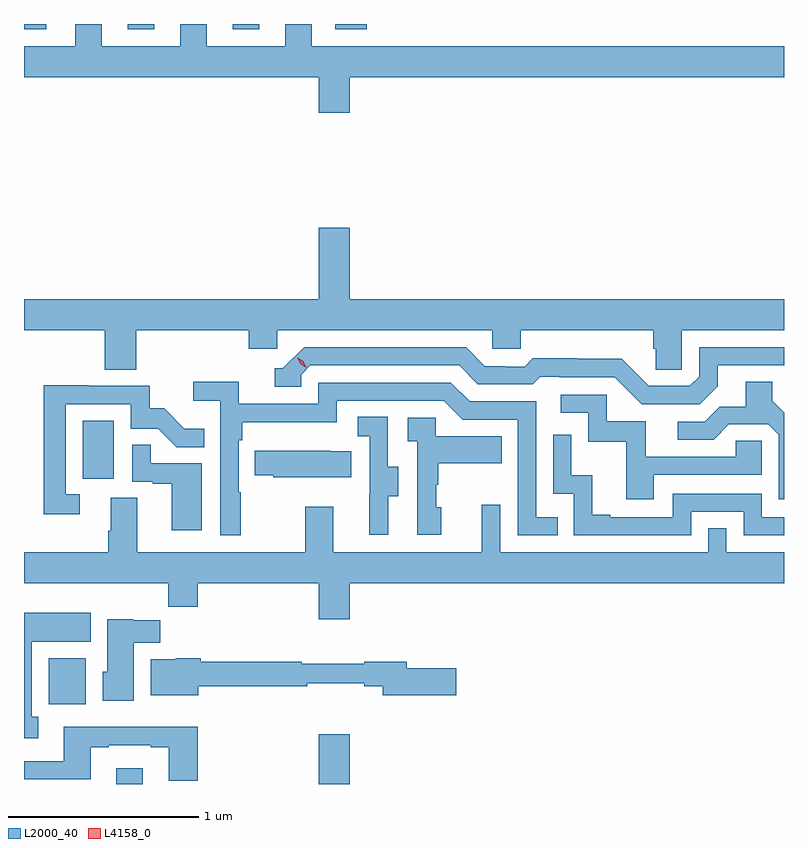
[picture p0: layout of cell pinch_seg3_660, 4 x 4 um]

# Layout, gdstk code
import gdstk
lib = gdstk.Library(unit=1e-6, precision=1e-09)
def R(c, l, rs):  # rectangles x0, y0, x1, y1
    for r in rs: c.add(gdstk.rectangle(r[:2], r[2:], *l))
def P(c, l, *ps):  # polygons
    for p in ps: c.add(gdstk.Polygon(p, *l))
L2000_40 = (2000, 40)
L4158_0 = (4158, 0)

pinch_seg3_660 = lib.new_cell('pinch_seg3_660')
R(pinch_seg3_660, L2000_40, [(1075.031,674.552,1075.171,674.635), (1076.096,674.552,1076.26,674.815), (1074.674,674.972,1074.871,675.214), (1074.854,676.158,1075.018,676.465), (1074.545,678.525,1074.661,678.552), (1075.091,678.525,1075.231,678.552), (1075.643,678.525,1075.783,678.552), (1076.183,678.525,1076.348,678.552)])
P(pinch_seg3_660, L2000_40, [(1076.26,678.272),(1078.545,678.272),(1078.545,678.436),(1076.059,678.436),(1076.059,678.552),(1075.919,678.552),(1075.919,678.436),(1075.507,678.436),(1075.507,678.552),(1075.367,678.552),(1075.367,678.436),(1074.955,678.436),(1074.955,678.552),(1074.816,678.552),(1074.816,678.436),(1074.545,678.436),(1074.545,678.272),(1076.096,678.272),(1076.096,678.084),(1076.26,678.084)],
  [(1077.009,676.842),(1077.159,676.842),(1077.159,676.94),(1077.857,676.94),(1077.857,676.842),(1077.871,676.842),(1077.871,676.732),(1078.008,676.732),(1078.008,676.94),(1078.545,676.94),(1078.545,677.104),(1076.26,677.104),(1076.26,677.479),(1076.096,677.479),(1076.096,677.104),(1074.545,677.104),(1074.545,676.94),(1074.971,676.94),(1074.971,676.732),(1075.136,676.732),(1075.136,676.94),(1075.727,676.94),(1075.727,676.842),(1075.878,676.842),(1075.878,676.94),(1077.009,676.94)],
  [(1078.195,676.645),(1078.195,676.755),(1078.545,676.755),(1078.545,676.851),(1078.098,676.851),(1078.098,676.695),(1078.05,676.647),(1077.834,676.647),(1077.692,676.789),(1077.456,676.789),(1077.456,676.792),(1077.223,676.792),(1077.181,676.749),(1077.078,676.749),(1077.078,676.752),(1076.971,676.752),(1076.872,676.851),(1076.019,676.851),(1075.908,676.74),(1075.865,676.74),(1075.865,676.644),(1076.004,676.644),(1076.004,676.707),(1076.052,676.755),(1076.835,676.755),(1076.934,676.656),(1077.223,676.656),(1077.262,676.695),(1077.361,676.695),(1077.361,676.692),(1077.654,676.692),(1077.795,676.551),(1078.101,676.551)],
  [(1075.687,676.088),(1075.674,676.088),(1075.674,676.361),(1075.694,676.361),(1075.694,676.457),(1076.19,676.457),(1076.19,676.569),(1076.754,676.569),(1076.853,676.47),(1077.144,676.47),(1077.144,675.861),(1077.353,675.861),(1077.353,675.957),(1077.24,675.957),(1077.24,676.566),(1076.89,676.566),(1076.791,676.665),(1076.094,676.665),(1076.094,676.554),(1075.676,676.554),(1075.676,676.67),(1075.437,676.67),(1075.437,676.568),(1075.578,676.568),(1075.578,675.861),(1075.687,675.861)],
  [(1078.545,676.506),(1078.483,676.568),(1078.483,676.67),(1078.343,676.67),(1078.343,676.538),(1078.208,676.538),(1078.128,676.458),(1077.987,676.458),(1077.987,676.365),(1078.174,676.365),(1078.255,676.446),(1078.461,676.446),(1078.518,676.389),(1078.518,676.05),(1078.545,676.05)],
  [(1074.838,676.077),(1074.765,676.077),(1074.765,676.551),(1075.107,676.551),(1075.107,676.422),(1075.251,676.422),(1075.349,676.324),(1075.493,676.324),(1075.493,676.423),(1075.389,676.423),(1075.282,676.53),(1075.206,676.53),(1075.206,676.647),(1074.887,676.647),(1074.887,676.652),(1074.649,676.652),(1074.649,675.972),(1074.838,675.972)],
  [(1077.859,676.179),(1078.428,676.179),(1078.428,676.359),(1078.291,676.359),(1078.291,676.275),(1077.817,676.275),(1077.817,676.461),(1077.612,676.461),(1077.612,676.602),(1077.369,676.602),(1077.369,676.506),(1077.516,676.506),(1077.516,676.353),(1077.715,676.353),(1077.715,676.05),(1077.859,676.05)],
  [(1076.461,676.066),(1076.515,676.066),(1076.515,676.221),(1076.46,676.221),(1076.46,676.484),(1076.301,676.484),(1076.301,676.381),(1076.364,676.381),(1076.364,676.077),(1076.363,676.077),(1076.363,675.864),(1076.461,675.864)],
  [(1076.74,676.008),(1076.715,676.008),(1076.715,676.127),(1076.725,676.127),(1076.725,676.241),(1077.059,676.241),(1077.059,676.381),(1076.712,676.381),(1076.712,676.479),(1076.565,676.479),(1076.565,676.355),(1076.616,676.355),(1076.616,675.864),(1076.74,675.864)],
  [(1078.056,675.984),(1078.332,675.984),(1078.332,675.861),(1078.545,675.861),(1078.545,675.957),(1078.428,675.957),(1078.428,676.08),(1077.96,676.08),(1077.96,675.957),(1077.631,675.957),(1077.631,675.97),(1077.536,675.97),(1077.536,676.178),(1077.426,676.178),(1077.426,676.39),(1077.33,676.39),(1077.33,676.08),(1077.438,676.08),(1077.438,675.861),(1078.056,675.861)],
  [(1075.48,676.239),(1075.211,676.239),(1075.211,676.337),(1075.116,676.337),(1075.116,676.143),(1075.223,676.143),(1075.223,676.131),(1075.322,676.131),(1075.322,675.888),(1075.48,675.888)],
  [(1076.267,676.303),(1076.159,676.303),(1076.159,676.306),(1075.759,676.306),(1075.759,676.177),(1075.857,676.177),(1075.857,676.166),(1076.267,676.166)],
  [(1076.26,675.608),(1078.545,675.608),(1078.545,675.772),(1078.242,675.772),(1078.242,675.899),(1078.146,675.899),(1078.146,675.772),(1077.051,675.772),(1077.051,676.021),(1076.954,676.021),(1076.954,675.772),(1076.173,675.772),(1076.173,676.012),(1076.026,676.012),(1076.026,675.772),(1075.141,675.772),(1075.141,676.058),(1075.001,676.058),(1075.001,675.884),(1074.989,675.884),(1074.989,675.772),(1074.545,675.772),(1074.545,675.608),(1075.303,675.608),(1075.303,675.484),(1075.46,675.484),(1075.46,675.608),(1076.096,675.608),(1076.096,675.42),(1076.26,675.42)],
  [(1074.619,674.906),(1074.586,674.906),(1074.586,675.302),(1074.895,675.302),(1074.895,675.454),(1074.545,675.454),(1074.545,674.793),(1074.619,674.793)],
  [(1075.123,675.296),(1075.262,675.296),(1075.262,675.415),(1075.119,675.415),(1075.119,675.418),(1074.983,675.418),(1074.983,675.144),(1074.959,675.144),(1074.959,674.99),(1075.123,674.99)],
  [(1075.462,675.067),(1076.036,675.067),(1076.036,675.082),(1076.336,675.082),(1076.336,675.067),(1076.432,675.067),(1076.432,675.02),(1076.821,675.02),(1076.821,675.162),(1076.56,675.162),(1076.56,675.196),(1076.336,675.196),(1076.336,675.186),(1076.007,675.186),(1076.007,675.196),(1075.475,675.196),(1075.475,675.214),(1075.344,675.214),(1075.344,675.208),(1075.211,675.208),(1075.211,675.02),(1075.462,675.02)],
  [(1075.46,674.854),(1074.755,674.854),(1074.755,674.673),(1074.545,674.673),(1074.545,674.576),(1074.895,674.576),(1074.895,674.745),(1074.991,674.745),(1074.991,674.757),(1075.211,674.757),(1075.211,674.745),(1075.307,674.745),(1075.307,674.568),(1075.46,674.568)])
P(pinch_seg3_660, L4158_0, [(1076.03,676.743),(1076,676.763),(1075.984,676.796),(1075.984,676.796),(1075.985,676.796),(1076.015,676.776),(1076.031,676.744),(1076.031,676.743)])

lib.write_gds('pinch_seg3_660.gds')
